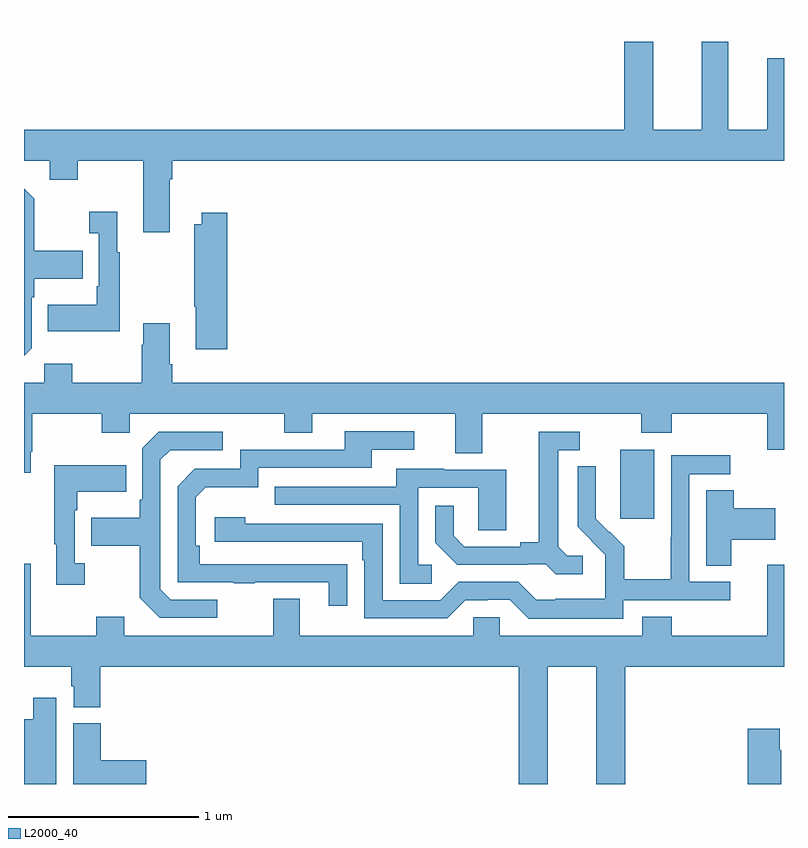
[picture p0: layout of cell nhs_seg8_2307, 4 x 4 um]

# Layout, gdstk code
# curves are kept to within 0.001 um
import gdstk
lib = gdstk.Library(unit=1e-6, precision=1e-09)
def R(c, l, rs):  # rectangles x0, y0, x1, y1
    for r in rs: c.add(gdstk.rectangle(r[:2], r[2:], *l))
def P(c, l, *ps):  # polygons
    for p in ps: c.add(gdstk.Polygon(p, *l))
L2000_40 = (2000, 40)

nhs_seg8_2307 = lib.new_cell('nhs_seg8_2307')
R(nhs_seg8_2307, L2000_40, [(260.138,1101.297,260.317,1101.658), (260.357,1103.898,260.521,1103.9)])
P(nhs_seg8_2307, L2000_40, [(257.767,1103.084),(257.779,1103.084),(257.779,1103.18),(261,1103.18),(261,1103.719),(260.912,1103.719),(260.912,1103.344),(260.707,1103.344),(260.707,1103.806),(260.567,1103.806),(260.567,1103.344),(260.311,1103.344),(260.311,1103.806),(260.159,1103.806),(260.159,1103.344),(257,1103.344),(257,1103.18),(257.135,1103.18),(257.135,1103.081),(257.283,1103.081),(257.283,1103.18),(257.627,1103.18),(257.627,1102.803),(257.767,1102.803)],
  [(257.04,1102.194),(257.04,1102.463),(257.053,1102.463),(257.053,1102.559),(257.309,1102.559),(257.309,1102.707),(257.053,1102.707),(257.053,1102.979),(257,1103.032),(257,1102.154)],
  [(257.503,1102.699),(257.491,1102.699),(257.491,1102.912),(257.343,1102.912),(257.343,1102.799),(257.394,1102.799),(257.394,1102.519),(257.382,1102.519),(257.382,1102.423),(257.125,1102.423),(257.125,1102.283),(257.503,1102.283)],
  [(258.071,1102.906),(257.936,1102.906),(257.936,1102.846),(257.896,1102.846),(257.896,1102.411),(257.903,1102.411),(257.903,1102.188),(258.071,1102.188)],
  [(257,1101.537),(257.035,1101.537),(257.035,1101.649),(257.043,1101.649),(257.043,1101.848),(257.41,1101.848),(257.41,1101.749),(257.556,1101.749),(257.556,1101.848),(258.37,1101.848),(258.37,1101.749),(258.517,1101.749),(258.517,1101.848),(259.271,1101.848),(259.271,1101.64),(259.411,1101.64),(259.411,1101.848),(260.248,1101.848),(260.248,1101.749),(260.408,1101.749),(260.408,1101.848),(260.912,1101.848),(260.912,1101.66),(261,1101.66),(261,1102.012),(257.779,1102.012),(257.779,1102.108),(257.767,1102.108),(257.767,1102.324),(257.627,1102.324),(257.627,1102.211),(257.62,1102.211),(257.62,1102.012),(257.253,1102.012),(257.253,1102.111),(257.106,1102.111),(257.106,1102.012),(257,1102.012)],
  [(258.701,1101.056),(257.924,1101.057),(257.924,1101.154),(257.904,1101.154),(257.904,1101.408),(257.957,1101.461),(258.234,1101.461),(258.234,1101.564),(258.829,1101.564),(258.829,1101.66),(259.054,1101.66),(259.054,1101.756),(258.689,1101.756),(258.689,1101.66),(258.138,1101.66),(258.138,1101.558),(257.898,1101.558),(257.808,1101.468),(257.808,1100.961),(258.103,1100.961),(258.103,1100.956),(258.215,1100.956),(258.215,1100.961),(258.605,1100.961),(258.605,1100.838),(258.701,1100.838)],
  [(258.016,1100.871),(257.772,1100.871),(257.718,1100.925),(257.718,1101.606),(257.769,1101.657),(258.046,1101.657),(258.046,1101.753),(257.709,1101.753),(257.622,1101.666),(257.622,1101.397),(257.61,1101.397),(257.61,1101.301),(257.353,1101.301),(257.353,1101.154),(257.61,1101.154),(257.61,1100.881),(257.715,1100.775),(258.016,1100.775)],
  [(259.942,1101.102),(259.86,1101.102),(259.813,1101.149),(259.813,1101.657),(259.924,1101.657),(259.924,1101.753),(259.709,1101.753),(259.709,1101.173),(259.613,1101.173),(259.613,1101.15),(259.318,1101.15),(259.261,1101.207),(259.261,1101.364),(259.164,1101.364),(259.164,1101.17),(259.28,1101.054),(259.652,1101.054),(259.652,1101.057),(259.746,1101.057),(259.798,1101.005),(259.942,1101.005)],
  [(260.154,1100.868),(260.716,1100.868),(260.716,1100.964),(260.502,1100.964),(260.502,1101.531),(260.716,1101.531),(260.716,1101.63),(260.406,1101.63),(260.406,1101.2),(260.404,1101.2),(260.404,1100.977),(260.159,1100.977),(260.159,1101.151),(260.082,1101.228),(260.079,1101.225),(260.009,1101.296),(260.01,1101.572),(259.914,1101.572),(259.914,1101.254),(260.06,1101.106),(260.06,1101.009),(260.058,1101.009),(260.058,1100.875),(259.795,1100.875),(259.795,1100.871),(259.695,1100.871),(259.602,1100.964),(259.287,1100.964),(259.191,1100.868),(258.888,1100.868),(258.888,1101.27),(258.164,1101.27),(258.164,1101.304),(258.003,1101.304),(258.003,1101.174),(258.779,1101.174),(258.779,1101.077),(258.792,1101.077),(258.792,1100.772),(259.227,1100.772),(259.323,1100.868),(259.442,1100.868),(259.442,1100.871),(259.557,1100.871),(259.657,1100.771),(260.154,1100.771)],
  [(257.32,1101.062),(257.268,1101.062),(257.268,1101.341),(257.281,1101.341),(257.281,1101.437),(257.537,1101.437),(257.537,1101.577),(257.16,1101.577),(257.16,1101.161),(257.171,1101.161),(257.171,1100.949),(257.32,1100.949)],
  [(259.147,1101.054),(259.074,1101.054),(259.074,1101.459),(259.392,1101.459),(259.392,1101.235),(259.537,1101.235),(259.537,1101.555),(259.213,1101.555),(259.213,1101.559),(258.959,1101.559),(258.959,1101.465),(258.319,1101.465),(258.319,1101.369),(258.978,1101.369),(258.978,1100.953),(259.147,1100.953)],
  [(260.722,1101.185),(260.953,1101.185),(260.953,1101.351),(260.735,1101.351),(260.735,1101.446),(260.591,1101.446),(260.591,1101.049),(260.722,1101.049)],
  [(259.756,1100.516),(260.012,1100.516),(260.012,1099.9),(260.165,1099.9),(260.165,1100.516),(261,1100.516),(261,1101.055),(260.912,1101.055),(260.912,1100.68),(260.408,1100.68),(260.408,1100.779),(260.255,1100.779),(260.255,1100.68),(259.503,1100.68),(259.503,1100.778),(259.365,1100.778),(259.365,1100.68),(258.451,1100.68),(258.451,1100.875),(258.311,1100.875),(258.311,1100.68),(257.527,1100.68),(257.527,1100.779),(257.38,1100.779),(257.38,1100.68),(257.035,1100.68),(257.035,1101.058),(257,1101.058),(257,1100.516),(257.249,1100.516),(257.249,1100.415),(257.261,1100.415),(257.261,1100.305),(257.402,1100.305),(257.402,1100.516),(259.604,1100.516),(259.604,1099.9),(259.756,1099.9)],
  [(257.17,1100.353),(257.048,1100.353),(257.048,1100.242),(257,1100.242),(257,1099.9),(257.17,1099.9)],
  [(257.644,1100.024),(257.404,1100.024),(257.404,1100.22),(257.258,1100.22),(257.258,1099.9),(257.644,1099.9)],
  [(260.985,1100.078),(260.977,1100.078),(260.977,1100.191),(260.81,1100.191),(260.81,1099.9),(260.985,1099.9)])

lib.write_gds('nhs_seg8_2307.gds')
